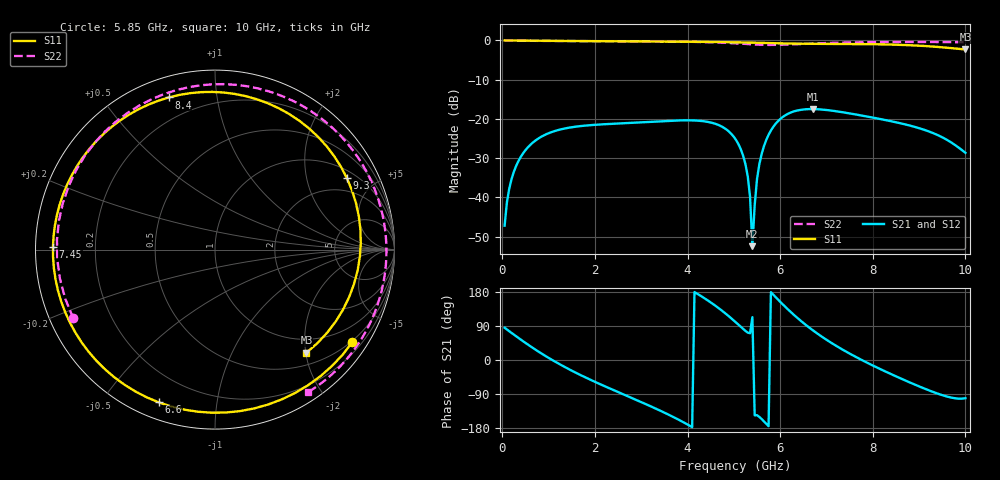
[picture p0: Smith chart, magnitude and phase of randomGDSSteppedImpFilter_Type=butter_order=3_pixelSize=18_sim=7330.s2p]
! freq	dB(S11)	phase(S11)	dB(S12)	phase(S12)
!  dB(S21)	phase(S21)	dB(S22)	phase(S22)
!S-par simulation data
#  GHz  S  DB  R 50
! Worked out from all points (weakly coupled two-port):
!   200 points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, 50 MHz to 10 GHz, reference 50 ohm
!   highest |S21| = -17.48 dB at 6.7 GHz (marker M1); lowest = -52.4 dB at 5.4 GHz (marker M2)
!   lowest |S11| = -2.3 dB at 10 GHz (marker M3), VSWR 7.62, Z = 36 - j101 ohm
!   |S11| at or under -10 dB: nowhere
!   |S22| runs from -1.1 to 0.0 dB; largest |S21 - S12| = 0
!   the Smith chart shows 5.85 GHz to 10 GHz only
!   S11 on the Smith chart (normalised r, x): 5.85 GHz: 0.46, -3.20; 6.6 GHz: 0.07, -0.70; 7.45 GHz: 0.05, +0.01; 8.4 GHz: 0.09, +0.74; 9.3 GHz: 1.33, +3.49; 10 GHz: 0.72, -2.01
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0.05  -0.00 -3.6  -47.17 85.2  -47.17 85.2  -0.00 -5.6
0.3  -0.03 -21.4  -31.94 62.5  -31.94 62.5  -0.05 -33.0
0.8  -0.08 -55.7  -24.82 20.7  -24.82 20.7  -0.11 -82.8
1.75  -0.15 -113.4  -21.74 -43.3  -21.74 -43.3  -0.16 -154.8
2.5  -0.19 -153.0  -21.16 -84.6  -21.16 -84.6  -0.19 160.5
3.4  -0.25 160.7  -20.59 -133.1  -20.59 -133.1  -0.25 109.0
4.25  -0.34 110.5  -20.46 171.9  -20.46 171.9  -0.39 51.1
4.7  -0.41 77.8  -21.70 134.2  -21.70 134.2  -0.55 10.3
5.05  -0.47 47.9  -25.40 98.7  -25.40 98.7  -0.75 -30.6
5.3  -0.53 23.9  -34.60 72.2  -34.60 72.2  -0.93 -66.0
5.4  -0.55 13.8  -52.40 113.0  -52.40 113.0  -0.99 -81.6
5.55  -0.60 -1.9  -31.56 -150.1  -31.56 -150.1  -1.08 -105.8
5.85  -0.70 -34.1  -22.04 172.5  -22.04 172.5  -1.14 -154.1
6.15  -0.78 -65.9  -18.80 135.6  -18.80 135.6  -1.05 162.9
6.6  -0.85 -110.2  -17.50 88.2  -17.50 88.2  -0.82 112.7
6.7  -0.85 -119.3  -17.48 78.9  -17.48 78.9  -0.78 103.5
7.45  -0.89 179.0  -18.48 20.4  -18.48 20.4  -0.53 49.3
8.35  -1.04 110.9  -20.46 -34.7  -20.46 -34.7  -0.40 3.6
8.4  -1.05 107.0  -20.58 -37.5  -20.58 -37.5  -0.40 1.4
8.85  -1.24 70.0  -21.83 -61.9  -21.83 -61.9  -0.39 -16.9
9.3  -1.56 28.4  -23.59 -84.2  -23.59 -84.2  -0.40 -33.4
10  -2.29 -48.4  -28.61 -100.8  -28.61 -100.8  -0.46 -56.9
